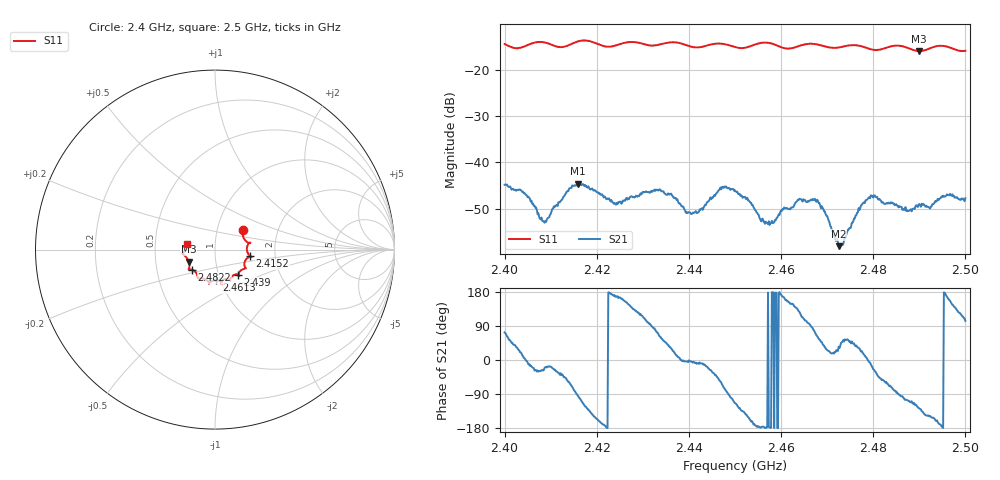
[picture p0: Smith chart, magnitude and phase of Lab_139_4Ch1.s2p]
# Hz S RI R 50
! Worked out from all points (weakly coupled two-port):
!   601 points, 2.4 GHz to 2.5 GHz, reference 50 ohm
!   highest |S21| = -44.60 dB at 2.4158 GHz (marker M1); lowest = -58.2 dB at 2.4725 GHz (marker M2)
!   lowest |S11| = -15.9 dB at 2.4898 GHz (marker M3), VSWR 1.38, Z = 37 - j5.05 ohm
!   |S11| at or under -10 dB: start of sweep to end of sweep
!   S12 and S22 are empty: the file has one direction only
!   S11 on the Smith chart (normalised r, x): 2.4 GHz: 1.33, +0.31; 2.4152 GHz: 1.48, -0.11; 2.439 GHz: 1.24, -0.36; 2.4613 GHz: 0.96, -0.34; 2.4822 GHz: 0.76, -0.17; 2.5 GHz: 0.72, +0.05
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2.4e9  0.156 0.1109  0.0017 0.00546  0 0  0 0
2.404333e9  0.1751 0.0446  0.00462 0.000367  0 0  0 0
2.408667e9  0.1955 0.0393  0.00207 -0.000795  0 0  0 0
2.415167e9  0.1948 -0.0361  0.000825 -0.00557  0 0  0 0
2.415833e9  0.1999 -0.0397  -0.000325 -0.00588  0 0  0 0
2.416667e9  0.2042 -0.0418  -0.00173 -0.00538  0 0  0 0
2.424e9  0.1636 -0.085  -0.00345 0.000794  0 0  0 0
2.433333e9  0.133 -0.1326  0.00169 0.00464  0 0  0 0
2.439e9  0.1284 -0.1392  0.00309 -0.000207  0 0  0 0
2.442167e9  0.0973 -0.147  0.00286 -0.000511  0 0  0 0
2.447167e9  0.0856 -0.1729  0.00238 -0.00487  0 0  0 0
2.45e9  0.0685 -0.1639  -0.00203 -0.00454  0 0  0 0
2.456667e9  0.0393 -0.1947  -0.00227 -1.58e-05  0 0  0 0
2.461333e9  0.00786 -0.1707  -0.00285 0.00134  0 0  0 0
2.466667e9  -0.0334 -0.1901  0.000217 0.00386  0 0  0 0
2.469333e9  -0.038 -0.1773  0.00233 0.00181  0 0  0 0
2.4725e9  -0.0715 -0.1605  0.00101 0.000715  0 0  0 0
2.478667e9  -0.0991 -0.142  0.00395 0.000264  0 0  0 0
2.482167e9  -0.1279 -0.1121  0.00216 -0.00291  0 0  0 0
2.483333e9  -0.1391 -0.1106  0.00149 -0.00334  0 0  0 0
2.489833e9  -0.1459 -0.0665  -0.00209 -0.00279  0 0  0 0
2.5e9  -0.1585 0.0332  -0.000941 0.00398  0 0  0 0
